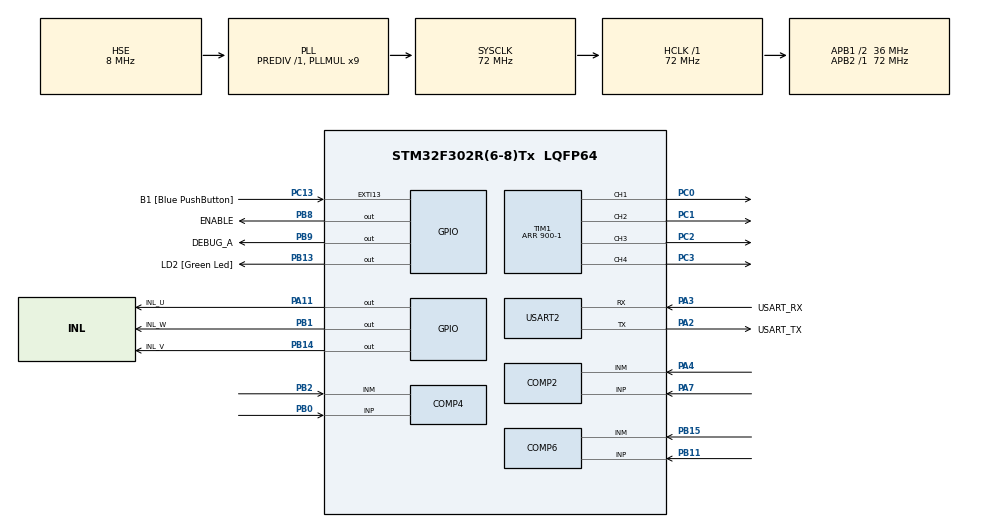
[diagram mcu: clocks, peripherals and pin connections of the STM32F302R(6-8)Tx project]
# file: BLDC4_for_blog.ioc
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Mcu.Family=STM32F3
Mcu.Name=STM32F302R(6-8)Tx
Mcu.Package=LQFP64
NVIC.PriorityGroup=NVIC_PRIORITYGROUP_0
NVIC.TIM1_CC_IRQn=true\:0\:0\:false\:false\:true\:true\:true
NVIC.TIM6_DAC_IRQn=true\:0\:0\:false\:false\:true\:true\:true
PA11.GPIO_Label=INL_U
PA11.Signal=GPIO_Output
PA13.GPIO_Label=TMS
PA13.Mode=Serial_Wire
PA13.Signal=SYS_JTMS-SWDIO
PA14.GPIO_Label=TCK
PA14.Mode=Serial_Wire
PA14.Signal=SYS_JTCK-SWCLK
PA2.GPIO_Label=USART_TX
PA2.GPIO_Mode=GPIO_MODE_AF_PP
PA2.GPIO_PuPd=GPIO_NOPULL
PA2.GPIO_Speed=GPIO_SPEED_FREQ_LOW
PA2.Mode=Asynchronous
PA2.Signal=USART2_TX
PA3.GPIO_Label=USART_RX
PA3.GPIO_Mode=GPIO_MODE_AF_PP
PA3.GPIO_PuPd=GPIO_NOPULL
PA3.GPIO_Speed=GPIO_SPEED_FREQ_LOW
PA3.Mode=Asynchronous
PA3.Signal=USART2_RX
PA4.Mode=INM
PA4.Signal=COMP2_INM
PA7.Mode=INP
PA7.Signal=COMP2_INP
PB0.Mode=INP
PB0.Signal=COMP4_INP
PB1.GPIO_Label=INL_W
PB1.Signal=GPIO_Output
PB11.Mode=INP
PB11.Signal=COMP6_INP
PB13.GPIO_Label=LD2 [Green Led]
PB13.Signal=GPIO_Output
PB14.GPIO_Label=INL_V
PB14.Signal=GPIO_Output
PB15.Mode=INM
PB15.Signal=COMP6_INM
PB2.Mode=INM
PB2.Signal=COMP4_INM
PB3.GPIO_Label=SWO
PB3.Mode=Trace_Asynchronous_SW
PB3.Signal=SYS_JTDO-TRACESWO
PB8.GPIO_Label=ENABLE
PB8.Signal=GPIO_Output
PB9.GPIO_Label=DEBUG_A
PB9.Signal=GPIO_Output
PC0.Signal=S_TIM1_CH1
PC1.Signal=S_TIM1_CH2
PC13.GPIO_Label=B1 [Blue PushButton]
PC13.GPIO_ModeDefaultEXTI=GPIO_MODE_IT_FALLING
PC13.Signal=GPXTI13
PC14\ -\ OSC32_IN.Mode=LSE-External-Oscillator
PC14\ -\ OSC32_IN.Signal=RCC_OSC32_IN
PC15\ -\ OSC32_OUT.Mode=LSE-External-Oscillator
PC15\ -\ OSC32_OUT.Signal=RCC_OSC32_OUT
PC2.Signal=S_TIM1_CH3
PC3.Signal=S_TIM1_CH4
PF0-OSC_IN.Mode=HSE-External-Clock-Source
PF0-OSC_IN.Signal=RCC_OSC_IN
PF1-OSC_OUT.Signal=RCC_OSC_OUT
ProjectManager.HeapSize=0x200
ProjectManager.StackSize=0x400
ProjectManager.TargetToolchain=STM32CubeIDE
RCC.AHBFreq_Value=72000000
RCC.APB1CLKDivider=RCC_HCLK_DIV2
RCC.APB1Freq_Value=36000000
RCC.APB1TimFreq_Value=72000000
RCC.APB2Freq_Value=72000000
RCC.APB2TimFreq_Value=72000000
RCC.CortexFreq_Value=72000000
RCC.HCLKFreq_Value=72000000
RCC.HSE_VALUE=8000000
RCC.HSI_VALUE=8000000
RCC.PLLM=8
RCC.PLLMUL=RCC_PLL_MUL9
RCC.PLLN=336
RCC.PLLP=RCC_PLLP_DIV4
RCC.PLLQ=7
RCC.PLLSourceVirtual=RCC_PLLSOURCE_HSE
RCC.SYSCLKFreq_VALUE=72000000
RCC.SYSCLKSourceVirtual=RCC_SYSCLKSOURCE_PLLCLK
RCC.USBFreq_Value=72000000
SH.S_TIM1_CH1.0=TIM1_CH1,PWM Generation1 CH1
SH.S_TIM1_CH2.0=TIM1_CH2,PWM Generation2 CH2
SH.S_TIM1_CH3.0=TIM1_CH3,PWM Generation3 CH3
SH.S_TIM1_CH4.0=TIM1_CH4,PWM Generation4 CH4
TIM1.Channel-PWM\ Generation1\ CH1=TIM_CHANNEL_1
TIM1.Channel-PWM\ Generation2\ CH2=TIM_CHANNEL_2
TIM1.Channel-PWM\ Generation3\ CH3=TIM_CHANNEL_3
TIM1.Channel-PWM\ Generation4\ CH4=TIM_CHANNEL_4
TIM1.CounterMode=TIM_COUNTERMODE_CENTERALIGNED1
TIM1.Period=900-1
TIM2.Prescaler=72-1
TIM6.Prescaler=72-1
USART2.VirtualMode-Asynchronous=VM_ASYNC
VP_TIM2_VS_ClockSourceINT.Mode=Internal
VP_TIM6_VS_ClockSourceINT.Mode=Enable_Timer
board=NUCLEO-F302R8

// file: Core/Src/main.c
/* USER CODE BEGIN Header */
/**
  ******************************************************************************
  * @file           : main.c
  * @brief          : Main program body
  ******************************************************************************
  * @attention
  *
  * <h2><center>&copy; Copyright (c) 2022 STMicroelectronics.
  * All rights reserved.</center></h2>
  *
  * This software component is licensed by ST under BSD 3-Clause license,
  * the "License"; You may not use this file except in compliance with the
  * License. You may obtain a copy of the License at:
  *                        opensource.org/licenses/BSD-3-Clause
  *
  ******************************************************************************
  */
/* USER CODE END Header */
#include "main.h"

/* USER CODE BEGIN Includes */
#include <stdio.h>
/* USER CODE END Includes */

/* USER CODE BEGIN PD */
#define BLDC_PWM_FREQ 900 	// PWM周波数 900 = 40kHz
#define BLDC_PWM_ON 150		// ON  duty 150 / 900 * 100[%]
#define BLDC_PWM_OFF 0		// OFF duty
#define BLDC_PWM_ZEROCROSS_CHECK_TIMING 10 // ゼロクロス判定タイミングduty

// UVWのコンパレータ状態
#define COMPARATOR_STATE_0 0b101	// U:1  V:0  W:1
#define COMPARATOR_STATE_1 0b100	// U:1  V:0  W:0
#define COMPARATOR_STATE_2 0b110	// U:1  V:1  W:0
#define COMPARATOR_STATE_3 0b010	// U:0  V:1  W:0
#define COMPARATOR_STATE_4 0b011	// U:0  V:1  W:1
#define COMPARATOR_STATE_5 0b001	// U:0  V:0  W:1

// 転流状態
typedef enum
{
	COMMUTATION_STATE_0 = 0,
	COMMUTATION_STATE_1,
	COMMUTATION_STATE_2,
	COMMUTATION_STATE_3,
	COMMUTATION_STATE_4,
	COMMUTATION_STATE_5,
	COMMUTATION_STATE_ERROR,

}BLDC_CommutationState_enum;
/* USER CODE END PD */

COMP_HandleTypeDef hcomp2;
COMP_HandleTypeDef hcomp4;
COMP_HandleTypeDef hcomp6;

TIM_HandleTypeDef htim1;
TIM_HandleTypeDef htim2;
TIM_HandleTypeDef htim6;

UART_HandleTypeDef huart2;

/* USER CODE BEGIN PV */
typedef struct
{
	int duty;
	int comm_state;					// 現在の転流状態
	int comm_flag;					// 転流したフラグ
	int zero_cross_interval_us;		// ゼロクロス間隔[us]
	int comp_UVW;					// 現在のコンパレータの状態(UVWまとめたやつ)
	int comp_UVW_old;				// 1つ前のコンパレータの状態
}BLDC_Data_struct;
BLDC_Data_struct BLDC;
/* USER CODE END PV */

void SystemClock_Config(void);
static void MX_GPIO_Init(void);
static void MX_USART2_UART_Init(void);
static void MX_TIM1_Init(void);
static void MX_COMP2_Init(void);
static void MX_COMP4_Init(void);
static void MX_COMP6_Init(void);
static void MX_TIM2_Init(void);
static void MX_TIM6_Init(void);
/* USER CODE BEGIN PFP */
void BLDC_Initialization(); 						// 初期化
void BLDC_Update_CommutationState(int state); 		// 実際に転流させる
void BLDC_Set_Duty(int duty); 						// Duty設定用
int BLDC_Get_Comparator(); 							// コンパレータの状態を取得
int BLDC_Get_NextCommutationState(int comp_uvw); 	// コンパレータの状態を渡して次の転流状態を取得
int BLDC_Get_ZeroCrossInterval(); 					// ゼロクロス間隔を取得
void BLDC_Set_NextCommutationTiming(int zero_cross_interval_us); // 次の転流タイミングを設定
void BLDC_Check_ZeroCross(); 						// ゼロクロス判定
void BLDC_TIM6_interrupt(); 						// TIM6割り込みコールバック
/* USER CODE END PFP */

/* USER CODE BEGIN 0 */
void BLDC_Initialization()
{
	// PWM duty
	BLDC_Set_Duty(BLDC_PWM_ON);
	// DRV8320H enable
	HAL_GPIO_WritePin(ENABLE_GPIO_Port, ENABLE_Pin, GPIO_PIN_SET);
	// Initialize duty value
	__HAL_TIM_SET_AUTORELOAD(&htim1, BLDC_PWM_FREQ-1);
	__HAL_TIM_SET_COMPARE(&htim1, TIM_CHANNEL_1, BLDC_PWM_OFF);
	__HAL_TIM_SET_COMPARE(&htim1, TIM_CHANNEL_2, BLDC_PWM_OFF);
	__HAL_TIM_SET_COMPARE(&htim1, TIM_CHANNEL_3, BLDC_PWM_OFF);
	__HAL_TIM_SET_COMPARE(&htim1, TIM_CHANNEL_4, BLDC_PWM_ZEROCROSS_CHECK_TIMING);
	// PWM start
	HAL_TIM_PWM_Start(&htim1, TIM_CHANNEL_1);
	HAL_TIM_PWM_Start(&htim1, TIM_CHANNEL_2);
	HAL_TIM_PWM_Start(&htim1, TIM_CHANNEL_3);
	HAL_TIM_PWM_Start_IT(&htim1, TIM_CHANNEL_4);
	// Comparator start
	HAL_COMP_Start(&hcomp2);
	HAL_COMP_Start(&hcomp4);
	HAL_COMP_Start(&hcomp6);
	//Zero cross interval counter start
	HAL_TIM_Base_Start(&htim2);
}

void BLDC_Update_CommutationState(int state)
{
	switch(state)
	{
		case COMMUTATION_STATE_0:
			// U -> V
			__HAL_TIM_SET_COMPARE(&htim1, TIM_CHANNEL_1, BLDC.duty);
			__HAL_TIM_SET_COMPARE(&htim1, TIM_CHANNEL_2, BLDC_PWM_OFF);
			__HAL_TIM_SET_COMPARE(&htim1, TIM_CHANNEL_3, BLDC_PWM_OFF);
			HAL_GPIO_WritePin(INL_U_GPIO_Port, INL_U_Pin, GPIO_PIN_RESET);
			HAL_GPIO_WritePin(INL_V_GPIO_Port, INL_V_Pin, GPIO_PIN_SET);
			HAL_GPIO_WritePin(INL_W_GPIO_Port, INL_W_Pin, GPIO_PIN_RESET);
			break;

		case COMMUTATION_STATE_1:
			// U -> W
			__HAL_TIM_SET_COMPARE(&htim1, TIM_CHANNEL_1, BLDC.duty);
			__HAL_TIM_SET_COMPARE(&htim1, TIM_CHANNEL_2, BLDC_PWM_OFF);
			__HAL_TIM_SET_COMPARE(&htim1, TIM_CHANNEL_3, BLDC_PWM_OFF);
			HAL_GPIO_WritePin(INL_U_GPIO_Port, INL_U_Pin, GPIO_PIN_RESET);
			HAL_GPIO_WritePin(INL_V_GPIO_Port, INL_V_Pin, GPIO_PIN_RESET);
			HAL_GPIO_WritePin(INL_W_GPIO_Port, INL_W_Pin, GPIO_PIN_SET);
			break;

		case COMMUTATION_STATE_2:
			// V -> W
			__HAL_TIM_SET_COMPARE(&htim1, TIM_CHANNEL_1, BLDC_PWM_OFF);
			__HAL_TIM_SET_COMPARE(&htim1, TIM_CHANNEL_2, BLDC.duty);
			__HAL_TIM_SET_COMPARE(&htim1, TIM_CHANNEL_3, BLDC_PWM_OFF);
			HAL_GPIO_WritePin(INL_U_GPIO_Port, INL_U_Pin, GPIO_PIN_RESET);
			HAL_GPIO_WritePin(INL_V_GPIO_Port, INL_V_Pin, GPIO_PIN_RESET);
			HAL_GPIO_WritePin(INL_W_GPIO_Port, INL_W_Pin, GPIO_PIN_SET);
			break;

		case COMMUTATION_STATE_3:
			// V -> U
			__HAL_TIM_SET_COMPARE(&htim1, TIM_CHANNEL_1, BLDC_PWM_OFF);
			__HAL_TIM_SET_COMPARE(&htim1, TIM_CHANNEL_2, BLDC.duty);
			__HAL_TIM_SET_COMPARE(&htim1, TIM_CHANNEL_3, BLDC_PWM_OFF);
			HAL_GPIO_WritePin(INL_U_GPIO_Port, INL_U_Pin, GPIO_PIN_SET);
			HAL_GPIO_WritePin(INL_V_GPIO_Port, INL_V_Pin, GPIO_PIN_RESET);
			HAL_GPIO_WritePin(INL_W_GPIO_Port, INL_W_Pin, GPIO_PIN_RESET);
			break;

		case COMMUTATION_STATE_4:
			// W -> U
			__HAL_TIM_SET_COMPARE(&htim1, TIM_CHANNEL_1, BLDC_PWM_OFF);
			__HAL_TIM_SET_COMPARE(&htim1, TIM_CHANNEL_2, BLDC_PWM_OFF);
			__HAL_TIM_SET_COMPARE(&htim1, TIM_CHANNEL_3, BLDC.duty);
			HAL_GPIO_WritePin(INL_U_GPIO_Port, INL_U_Pin, GPIO_PIN_SET);
			HAL_GPIO_WritePin(INL_V_GPIO_Port, INL_V_Pin, GPIO_PIN_RESET);
			HAL_GPIO_WritePin(INL_W_GPIO_Port, INL_W_Pin, GPIO_PIN_RESET);
			break;

		case COMMUTATION_STATE_5:
			// W -> V
			__HAL_TIM_SET_COMPARE(&htim1, TIM_CHANNEL_1, BLDC_PWM_OFF);
			__HAL_TIM_SET_COMPARE(&htim1, TIM_CHANNEL_2, BLDC_PWM_OFF);
			__HAL_TIM_SET_COMPARE(&htim1, TIM_CHANNEL_3, BLDC.duty);
			HAL_GPIO_WritePin(INL_U_GPIO_Port, INL_U_Pin, GPIO_PIN_RESET);
			HAL_GPIO_WritePin(INL_V_GPIO_Port, INL_V_Pin, GPIO_PIN_SET);
			HAL_GPIO_WritePin(INL_W_GPIO_Port, INL_W_Pin, GPIO_PIN_RESET);
			break;

		default:
			break;
	}
}

void BLDC_Set_Duty(int duty)
{
	BLDC.duty = duty;
}

int BLDC_Get_Comparator()
{
	int comp_u;
	int comp_v;
	int comp_w;
	int comp_uvw;

	comp_u = (READ_BIT(hcomp2.Instance->CSR, COMP_CSR_COMPxOUT)) >> COMP_CSR_COMPxOUT_Pos;
	comp_v = (READ_BIT(hcomp4.Instance->CSR, COMP_CSR_COMPxOUT)) >> COMP_CSR_COMPxOUT_Pos;
	comp_w = (READ_BIT(hcomp6.Instance->CSR, COMP_CSR_COMPxOUT)) >> COMP_CSR_COMPxOUT_Pos;
	comp_uvw = (comp_u << 2) | (comp_v << 1) | comp_w;

	return comp_uvw;
}

int BLDC_Get_NextCommutationState(int comp_uvw)
{
	int comm_next_state;

	switch(comp_uvw)
	{
		case COMPARATOR_STATE_0:
			comm_next_state = COMMUTATION_STATE_0;
			break;
		case COMPARATOR_STATE_1:
			comm_next_state = COMMUTATION_STATE_1;
			break;
		case COMPARATOR_STATE_2:
			comm_next_state = COMMUTATION_STATE_2;
			break;
		case COMPARATOR_STATE_3:
			comm_next_state = COMMUTATION_STATE_3;
			break;
		case COMPARATOR_STATE_4:
			comm_next_state = COMMUTATION_STATE_4;
			break;
		case COMPARATOR_STATE_5:
			comm_next_state = COMMUTATION_STATE_5;
			break;
		default:
			comm_next_state = COMMUTATION_STATE_ERROR;
			break;
	}

	return comm_next_state;
}

int BLDC_Get_ZeroCrossInterval()
{
	int zero_cross_interval_us;

	zero_cross_interval_us = __HAL_TIM_GET_COUNTER(&htim2);
	__HAL_TIM_SET_COUNTER(&htim2, 0);

	return zero_cross_interval_us;
}

void BLDC_Set_NextCommutationTiming(int zero_cross_interval_us)
{
	__HAL_TIM_SET_AUTORELOAD(&htim6, (int)(zero_cross_interval_us / 2));
	__HAL_TIM_SET_COUNTER(&htim6, 0);
	HAL_TIM_Base_Start_IT(&htim6);
}

void BLDC_Check_ZeroCross()
{
	if(BLDC.comp_UVW != BLDC.comp_UVW_old)
	{
		BLDC.zero_cross_interval_us = BLDC_Get_ZeroCrossInterval();
		BLDC_Set_NextCommutationTiming(BLDC.zero_cross_interval_us);

		BLDC.comp_UVW_old = BLDC.comp_UVW;

		HAL_GPIO_TogglePin(LD2_GPIO_Port, LD2_Pin);
	}
}

void BLDC_CC_interrupt()
{
	if(BLDC.comm_flag == 0)
	{
		BLDC.comp_UVW = BLDC_Get_Comparator();
		BLDC_Check_ZeroCross();
	}
	else
	{
		BLDC.comm_flag = 0;
	}
}

void BLDC_TIM6_interrupt()
{
	BLDC.comm_state = BLDC_Get_NextCommutationState(BLDC.comp_UVW);
	BLDC_Update_CommutationState(BLDC.comm_state);
	BLDC.comm_flag = 1;

	HAL_TIM_Base_Stop_IT(&htim6);

	HAL_GPIO_TogglePin(DEBUG_A_GPIO_Port, DEBUG_A_Pin);
}

void HAL_TIM_PeriodElapsedCallback(TIM_HandleTypeDef *htim)
{
    if (htim == &htim6){
    	BLDC_TIM6_interrupt();
    }
}
/* USER CODE END 0 */

int main(void)
{
  /* USER CODE BEGIN 1 */
	int bldc_step = 0;
	int i = 0;
	int duty = BLDC_PWM_ON;
	int freq = BLDC_PWM_FREQ;
	uint8_t buff[1];
	HAL_StatusTypeDef ret;
  /* USER CODE END 1 */

  /* MCU Configuration--------------------------------------------------------*/

  /* Reset of all peripherals, Initializes the Flash interface and the Systick. */
  HAL_Init();

  /* Configure the system clock */
  SystemClock_Config();

  /* Initialize all configured peripherals */
  MX_GPIO_Init();
  MX_USART2_UART_Init();
  MX_TIM1_Init();
  MX_COMP2_Init();
  MX_COMP4_Init();
  MX_COMP6_Init();
  MX_TIM2_Init();
  MX_TIM6_Init();
  /* USER CODE BEGIN 2 */
  BLDC_Initialization();

  // Forced commutation
  for(i = 0; i < 5; i ++)
  {
	BLDC_Update_CommutationState(bldc_step);
	bldc_step++;
	bldc_step %= 6;
	HAL_Delay(5);
  }
  /* USER CODE END 2 */

  /* Infinite loop */
  /* USER CODE BEGIN WHILE */
  while (1)
  {
	ret = HAL_UART_Receive(&huart2, buff, 1, 1000);
	// B1スイッチを押しながらシリアルで「1」「2」を送信すると周波数が変化
	// B1スイッチを押さずにシリアルで「1」「2」を送信するとDutyが変化
	if(HAL_GPIO_ReadPin(B1_GPIO_Port, B1_Pin) == 1)
	{
		if (ret == HAL_OK)
		{
			if(buff[0] == '1')
			{
				duty += 10;
			}
			else if(buff[0] == '2')
			{
				duty -= 10;
			}
		}
		BLDC_Set_Duty(duty);
	}
	else
	{
		if (ret == HAL_OK)
		{
			if(buff[0] == '1')
			{
				freq += 10;
			}
			else if(buff[0] == '2')
			{
				freq -= 10;
			}
		}
		__HAL_TIM_SET_AUTORELOAD(&htim1, freq-1);
	}
	if (ret == HAL_OK)
	{
		char str[100] = {0};
		sprintf(str,"%d\t%d\r\n",duty,freq);
		HAL_UART_Transmit(&huart2, (uint8_t*)str, sizeof(str), 1000);
	}
    /* USER CODE END WHILE */

  }
}

void SystemClock_Config(void)
{
  RCC_OscInitTypeDef RCC_OscInitStruct = {0};
  RCC_ClkInitTypeDef RCC_ClkInitStruct = {0};
  RCC_PeriphCLKInitTypeDef PeriphClkInit = {0};

  /** Initializes the RCC Oscillators according to the specified parameters
  * in the RCC_OscInitTypeDef structure.
  */
  RCC_OscInitStruct.OscillatorType = RCC_OSCILLATORTYPE_HSE;
  RCC_OscInitStruct.HSEState = RCC_HSE_BYPASS;
  RCC_OscInitStruct.HSEPredivValue = RCC_HSE_PREDIV_DIV1;
  RCC_OscInitStruct.HSIState = RCC_HSI_ON;
  RCC_OscInitStruct.PLL.PLLState = RCC_PLL_ON;
  RCC_OscInitStruct.PLL.PLLSource = RCC_PLLSOURCE_HSE;
  RCC_OscInitStruct.PLL.PLLMUL = RCC_PLL_MUL9;
  if (HAL_RCC_OscConfig(&RCC_OscInitStruct) != HAL_OK)
  {
    Error_Handler();
  }
  /** Initializes the CPU, AHB and APB buses clocks
  */
  RCC_ClkInitStruct.ClockType = RCC_CLOCKTYPE_HCLK|RCC_CLOCKTYPE_SYSCLK
                              |RCC_CLOCKTYPE_PCLK1|RCC_CLOCKTYPE_PCLK2;
  RCC_ClkInitStruct.SYSCLKSource = RCC_SYSCLKSOURCE_PLLCLK;
  RCC_ClkInitStruct.AHBCLKDivider = RCC_SYSCLK_DIV1;
  RCC_ClkInitStruct.APB1CLKDivider = RCC_HCLK_DIV2;
  RCC_ClkInitStruct.APB2CLKDivider = RCC_HCLK_DIV1;

  if (HAL_RCC_ClockConfig(&RCC_ClkInitStruct, FLASH_LATENCY_2) != HAL_OK)
  {
    Error_Handler();
  }
  PeriphClkInit.PeriphClockSelection = RCC_PERIPHCLK_TIM1;
  PeriphClkInit.Tim1ClockSelection = RCC_TIM1CLK_HCLK;
  if (HAL_RCCEx_PeriphCLKConfig(&PeriphClkInit) != HAL_OK)
  {
    Error_Handler();
  }
}

static void MX_COMP2_Init(void)
{

  hcomp2.Instance = COMP2;
  hcomp2.Init.InvertingInput = COMP_INVERTINGINPUT_DAC1_CH1;
  hcomp2.Init.NonInvertingInput = COMP_NONINVERTINGINPUT_IO1;
  hcomp2.Init.Output = COMP_OUTPUT_NONE;
  hcomp2.Init.OutputPol = COMP_OUTPUTPOL_NONINVERTED;
  hcomp2.Init.BlankingSrce = COMP_BLANKINGSRCE_NONE;
  hcomp2.Init.TriggerMode = COMP_TRIGGERMODE_NONE;
  if (HAL_COMP_Init(&hcomp2) != HAL_OK)
  {
    Error_Handler();
  }

}

static void MX_COMP4_Init(void)
{

  hcomp4.Instance = COMP4;
  hcomp4.Init.InvertingInput = COMP_INVERTINGINPUT_IO2;
  hcomp4.Init.NonInvertingInput = COMP_NONINVERTINGINPUT_IO1;
  hcomp4.Init.Output = COMP_OUTPUT_NONE;
  hcomp4.Init.OutputPol = COMP_OUTPUTPOL_NONINVERTED;
  hcomp4.Init.BlankingSrce = COMP_BLANKINGSRCE_NONE;
  hcomp4.Init.TriggerMode = COMP_TRIGGERMODE_NONE;
  if (HAL_COMP_Init(&hcomp4) != HAL_OK)
  {
    Error_Handler();
  }

}

static void MX_COMP6_Init(void)
{

  hcomp6.Instance = COMP6;
  hcomp6.Init.InvertingInput = COMP_INVERTINGINPUT_IO2;
  hcomp6.Init.NonInvertingInput = COMP_NONINVERTINGINPUT_IO1;
  hcomp6.Init.Output = COMP_OUTPUT_NONE;
  hcomp6.Init.OutputPol = COMP_OUTPUTPOL_NONINVERTED;
  hcomp6.Init.BlankingSrce = COMP_BLANKINGSRCE_NONE;
  hcomp6.Init.TriggerMode = COMP_TRIGGERMODE_NONE;
  if (HAL_COMP_Init(&hcomp6) != HAL_OK)
  {
    Error_Handler();
  }

}

static void MX_TIM1_Init(void)
{

  TIM_MasterConfigTypeDef sMasterConfig = {0};
  TIM_OC_InitTypeDef sConfigOC = {0};
  TIM_BreakDeadTimeConfigTypeDef sBreakDeadTimeConfig = {0};

  htim1.Instance = TIM1;
  htim1.Init.Prescaler = 0;
  htim1.Init.CounterMode = TIM_COUNTERMODE_CENTERALIGNED1;
  htim1.Init.Period = 900-1;
  htim1.Init.ClockDivision = TIM_CLOCKDIVISION_DIV1;
  htim1.Init.RepetitionCounter = 0;
  htim1.Init.AutoReloadPreload = TIM_AUTORELOAD_PRELOAD_DISABLE;
  if (HAL_TIM_PWM_Init(&htim1) != HAL_OK)
  {
    Error_Handler();
  }
  sMasterConfig.MasterOutputTrigger = TIM_TRGO_RESET;
  sMasterConfig.MasterOutputTrigger2 = TIM_TRGO2_RESET;
  sMasterConfig.MasterSlaveMode = TIM_MASTERSLAVEMODE_DISABLE;
  if (HAL_TIMEx_MasterConfigSynchronization(&htim1, &sMasterConfig) != HAL_OK)
  {
    Error_Handler();
  }
  sConfigOC.OCMode = TIM_OCMODE_PWM1;
  sConfigOC.Pulse = 0;
  sConfigOC.OCPolarity = TIM_OCPOLARITY_HIGH;
  sConfigOC.OCNPolarity = TIM_OCNPOLARITY_HIGH;
  sConfigOC.OCFastMode = TIM_OCFAST_DISABLE;
  sConfigOC.OCIdleState = TIM_OCIDLESTATE_RESET;
  sConfigOC.OCNIdleState = TIM_OCNIDLESTATE_RESET;
  if (HAL_TIM_PWM_ConfigChannel(&htim1, &sConfigOC, TIM_CHANNEL_1) != HAL_OK)
  {
    Error_Handler();
  }
  if (HAL_TIM_PWM_ConfigChannel(&htim1, &sConfigOC, TIM_CHANNEL_2) != HAL_OK)
  {
    Error_Handler();
  }
  if (HAL_TIM_PWM_ConfigChannel(&htim1, &sConfigOC, TIM_CHANNEL_3) != HAL_OK)
  {
    Error_Handler();
  }
  if (HAL_TIM_PWM_ConfigChannel(&htim1, &sConfigOC, TIM_CHANNEL_4) != HAL_OK)
  {
    Error_Handler();
  }
  sBreakDeadTimeConfig.OffStateRunMode = TIM_OSSR_DISABLE;
  sBreakDeadTimeConfig.OffStateIDLEMode = TIM_OSSI_DISABLE;
  sBreakDeadTimeConfig.LockLevel = TIM_LOCKLEVEL_OFF;
  sBreakDeadTimeConfig.DeadTime = 0;
  sBreakDeadTimeConfig.BreakState = TIM_BREAK_DISABLE;
  sBreakDeadTimeConfig.BreakPolarity = TIM_BREAKPOLARITY_HIGH;
  sBreakDeadTimeConfig.BreakFilter = 0;
  sBreakDeadTimeConfig.Break2State = TIM_BREAK2_DISABLE;
  sBreakDeadTimeConfig.Break2Polarity = TIM_BREAK2POLARITY_HIGH;
  sBreakDeadTimeConfig.Break2Filter = 0;
  sBreakDeadTimeConfig.AutomaticOutput = TIM_AUTOMATICOUTPUT_DISABLE;
  if (HAL_TIMEx_ConfigBreakDeadTime(&htim1, &sBreakDeadTimeConfig) != HAL_OK)
  {
    Error_Handler();
  }
  HAL_TIM_MspPostInit(&htim1);

}

static void MX_TIM2_Init(void)
{

  TIM_ClockConfigTypeDef sClockSourceConfig = {0};
  TIM_MasterConfigTypeDef sMasterConfig = {0};

  htim2.Instance = TIM2;
  htim2.Init.Prescaler = 72-1;
  htim2.Init.CounterMode = TIM_COUNTERMODE_UP;
  htim2.Init.Period = 4294967295;
  htim2.Init.ClockDivision = TIM_CLOCKDIVISION_DIV1;
  htim2.Init.AutoReloadPreload = TIM_AUTORELOAD_PRELOAD_DISABLE;
  if (HAL_TIM_Base_Init(&htim2) != HAL_OK)
  {
    Error_Handler();
  }
  sClockSourceConfig.ClockSource = TIM_CLOCKSOURCE_INTERNAL;
  if (HAL_TIM_ConfigClockSource(&htim2, &sClockSourceConfig) != HAL_OK)
  {
    Error_Handler();
  }
  sMasterConfig.MasterOutputTrigger = TIM_TRGO_RESET;
  sMasterConfig.MasterSlaveMode = TIM_MASTERSLAVEMODE_DISABLE;
  if (HAL_TIMEx_MasterConfigSynchronization(&htim2, &sMasterConfig) != HAL_OK)
  {
    Error_Handler();
  }

}

static void MX_TIM6_Init(void)
{

  TIM_MasterConfigTypeDef sMasterConfig = {0};

  htim6.Instance = TIM6;
  htim6.Init.Prescaler = 72-1;
  htim6.Init.CounterMode = TIM_COUNTERMODE_UP;
  htim6.Init.Period = 65535;
  htim6.Init.AutoReloadPreload = TIM_AUTORELOAD_PRELOAD_DISABLE;
  if (HAL_TIM_Base_Init(&htim6) != HAL_OK)
  {
    Error_Handler();
  }
  sMasterConfig.MasterOutputTrigger = TIM_TRGO_RESET;
  sMasterConfig.MasterSlaveMode = TIM_MASTERSLAVEMODE_DISABLE;
  if (HAL_TIMEx_MasterConfigSynchronization(&htim6, &sMasterConfig) != HAL_OK)
  {
    Error_Handler();
  }

}

static void MX_USART2_UART_Init(void)
{

  huart2.Instance = USART2;
  huart2.Init.BaudRate = 38400;
  huart2.Init.WordLength = UART_WORDLENGTH_8B;
  huart2.Init.StopBits = UART_STOPBITS_1;
  huart2.Init.Parity = UART_PARITY_NONE;
  huart2.Init.Mode = UART_MODE_TX_RX;
  huart2.Init.HwFlowCtl = UART_HWCONTROL_NONE;
  huart2.Init.OverSampling = UART_OVERSAMPLING_16;
  huart2.Init.OneBitSampling = UART_ONE_BIT_SAMPLE_DISABLE;
  huart2.AdvancedInit.AdvFeatureInit = UART_ADVFEATURE_NO_INIT;
  if (HAL_UART_Init(&huart2) != HAL_OK)
  {
    Error_Handler();
  }

}

static void MX_GPIO_Init(void)
{
  GPIO_InitTypeDef GPIO_InitStruct = {0};

  /* GPIO Ports Clock Enable */
  __HAL_RCC_GPIOC_CLK_ENABLE();
  __HAL_RCC_GPIOF_CLK_ENABLE();
  __HAL_RCC_GPIOA_CLK_ENABLE();
  __HAL_RCC_GPIOB_CLK_ENABLE();

  /*Configure GPIO pin Output Level */
  HAL_GPIO_WritePin(GPIOB, INL_W_Pin|LD2_Pin|INL_V_Pin|ENABLE_Pin
                          |DEBUG_A_Pin, GPIO_PIN_RESET);

  /*Configure GPIO pin Output Level */
  HAL_GPIO_WritePin(INL_U_GPIO_Port, INL_U_Pin, GPIO_PIN_RESET);

  /*Configure GPIO pin : B1_Pin */
  GPIO_InitStruct.Pin = B1_Pin;
  GPIO_InitStruct.Mode = GPIO_MODE_IT_FALLING;
  GPIO_InitStruct.Pull = GPIO_NOPULL;
  HAL_GPIO_Init(B1_GPIO_Port, &GPIO_InitStruct);

  /*Configure GPIO pins : INL_W_Pin LD2_Pin INL_V_Pin ENABLE_Pin
                           DEBUG_A_Pin */
  GPIO_InitStruct.Pin = INL_W_Pin|LD2_Pin|INL_V_Pin|ENABLE_Pin
                          |DEBUG_A_Pin;
  GPIO_InitStruct.Mode = GPIO_MODE_OUTPUT_PP;
  GPIO_InitStruct.Pull = GPIO_NOPULL;
  GPIO_InitStruct.Speed = GPIO_SPEED_FREQ_LOW;
  HAL_GPIO_Init(GPIOB, &GPIO_InitStruct);

  /*Configure GPIO pin : INL_U_Pin */
  GPIO_InitStruct.Pin = INL_U_Pin;
  GPIO_InitStruct.Mode = GPIO_MODE_OUTPUT_PP;
  GPIO_InitStruct.Pull = GPIO_NOPULL;
  GPIO_InitStruct.Speed = GPIO_SPEED_FREQ_LOW;
  HAL_GPIO_Init(INL_U_GPIO_Port, &GPIO_InitStruct);

}

void Error_Handler(void)
{
  __disable_irq();
  while (1)
  {
  }
}

/************************ (C) COPYRIGHT STMicroelectronics *****END OF FILE****/
